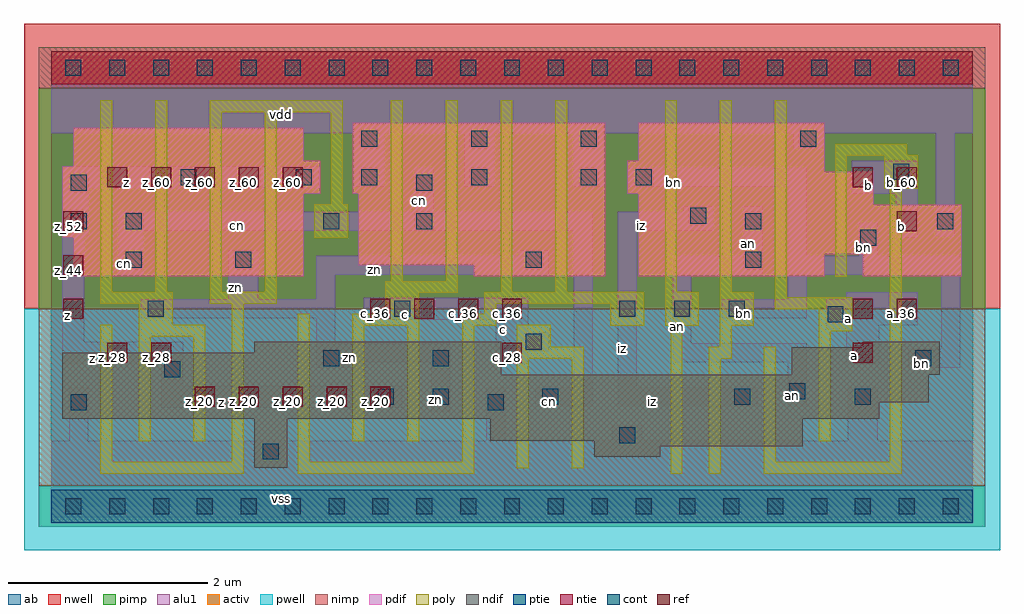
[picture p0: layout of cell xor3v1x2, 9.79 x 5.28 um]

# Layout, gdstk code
import gdstk
lib = gdstk.Library(unit=1e-6, precision=2.5e-09)
def R(c, l, rs):  # rectangles x0, y0, x1, y1
    for r in rs: c.add(gdstk.rectangle(r[:2], r[2:], *l))
def A(c, l, x, y, w, h, nx, ny, dx, dy):  # array of equal rectangles
    R(c, l, [(x+i*dx, y+j*dy, x+i*dx+w, y+j*dy+h) for i in range(nx) for j in range(ny)])
ndif = (3, 0)
pdif = (4, 0)
ntie = (5, 0)
ptie = (6, 0)
ref = (24, 0)
cont = (25, 0)
pwell = (41, 0)
nwell = (42, 0)
activ = (43, 0)
pimp = (44, 0)
nimp = (45, 0)
poly = (46, 0)
alu1 = (49, 0)
ab = (63, 0)

xor3v1x2 = lib.new_cell('xor3v1x2')
R(xor3v1x2, ndif, [(2.035,0.385,2.365,0.88), (5.445,0.495,6.105,0.605), (5.445,0.605,7.535,0.66), (4.4,0.66,7.535,0.88), (0.11,0.88,8.305,1.045), (0.11,1.045,8.8,1.32), (0.11,1.32,4.51,1.54), (7.425,1.32,8.91,1.595), (2.035,1.54,4.51,1.65), (8.14,1.595,8.91,1.65)])
R(xor3v1x2, pdif, [(0.22,2.31,2.53,2.695), (4.235,2.31,5.555,2.42), (5.885,2.31,7.755,2.53), (8.14,2.31,9.13,2.53), (3.08,2.42,5.555,3.135), (5.885,2.53,9.13,3.025), (0.11,2.695,2.53,3.135), (5.885,3.025,8.25,3.135), (0.11,3.135,2.695,3.41), (3.025,3.135,5.555,3.85), (5.775,3.135,8.25,3.355), (5.775,3.355,7.755,3.465), (0.22,3.41,2.695,3.465), (0.22,3.465,2.53,3.795), (5.885,3.465,7.755,3.85)])
R(xor3v1x2, ntie, [(0,4.235,9.24,4.565)])
R(xor3v1x2, ptie, [(0,-0.165,9.24,0.165)])
A(xor3v1x2, ref, 1.44, 1, 0.2, 0.2, 5, 1, 0.44, 0)
A(xor3v1x2, ref, 1, 1.44, 0.2, 0.2, 3, 1, 3.52, 0)
A(xor3v1x2, ref, 0.12, 1.88, 0.2, 0.2, 1, 3, 0, 0.44)
A(xor3v1x2, ref, 3.2, 1.88, 0.2, 0.2, 4, 1, 0.44, 0)
A(xor3v1x2, ref, 0.56, 3.2, 0.2, 0.2, 5, 1, 0.44, 0)
R(xor3v1x2, ref, [(0.56,1.44,0.76,1.64), (8.04,1.88,8.24,2.08), (8.48,1.88,8.68,2.08), (8.48,2.76,8.68,2.96), (8.04,3.2,8.24,3.4), (8.48,3.2,8.68,3.4)])
A(xor3v1x2, cont, 0.14, -0.08, 0.16, 0.16, 21, 2, 0.44, 4.4)
A(xor3v1x2, cont, 5.695, 1.9, 0.16, 0.16, 3, 1, 0.55, 0)
A(xor3v1x2, cont, 3.11, 3.22, 0.16, 0.16, 3, 2, 1.1, 0.385)
R(xor3v1x2, cont, [(2.12,0.47,2.28,0.63), (5.695,0.635,5.855,0.795), (0.195,0.965,0.355,1.125), (4.375,0.965,4.535,1.125), (3.275,1.02,3.435,1.18), (3.825,1.02,3.985,1.18), (4.925,1.02,5.085,1.18), (6.85,1.02,7.01,1.18), (8.06,1.02,8.22,1.18), (7.4,1.075,7.56,1.235), (1.13,1.295,1.29,1.455), (2.725,1.405,2.885,1.565), (3.825,1.405,3.985,1.565), (8.665,1.405,8.825,1.565), (4.76,1.57,4.92,1.73), (7.785,1.845,7.945,2.005), (0.965,1.9,1.125,2.06), (3.44,1.9,3.6,2.06), (0.745,2.395,0.905,2.555), (1.845,2.395,2.005,2.555), (4.76,2.395,4.92,2.555), (6.96,2.395,7.12,2.555), (8.115,2.615,8.275,2.775), (0.195,2.78,0.355,2.94), (0.745,2.78,0.905,2.94), (2.725,2.78,2.885,2.94), (3.66,2.78,3.82,2.94), (6.96,2.78,7.12,2.94), (8.885,2.78,9.045,2.94), (6.41,2.835,6.57,2.995), (0.195,3.165,0.355,3.325), (3.66,3.165,3.82,3.325), (1.295,3.22,1.455,3.38), (2.45,3.22,2.61,3.38), (5.86,3.22,6.02,3.38), (8.445,3.275,8.605,3.435), (7.51,3.605,7.67,3.765)])
R(xor3v1x2, pwell, [(-0.275,-0.44,9.515,1.98)])
R(xor3v1x2, nwell, [(-0.275,1.98,9.515,4.84)])
R(xor3v1x2, activ, [(0,-0.165,9.24,0.165), (2.035,0.385,2.365,0.88), (5.445,0.495,6.105,0.605), (5.445,0.605,7.535,0.66), (4.4,0.66,7.535,0.88), (0.11,0.88,8.305,1.045), (0.11,1.045,8.8,1.32), (0.11,1.32,4.51,1.54), (7.425,1.32,8.91,1.595), (2.035,1.54,4.51,1.65), (8.14,1.595,8.91,1.65), (0.22,2.31,2.53,2.695), (4.235,2.31,5.555,2.42), (5.885,2.31,7.755,2.53), (8.14,2.31,9.13,2.53), (3.08,2.42,5.555,3.135), (5.885,2.53,9.13,3.025), (0.11,2.695,2.53,3.135), (5.885,3.025,8.25,3.135), (0.11,3.135,2.695,3.41), (3.025,3.135,5.555,3.85), (5.775,3.135,8.25,3.355), (5.775,3.355,7.755,3.465), (0.22,3.41,2.695,3.465), (0.22,3.465,2.53,3.795), (5.885,3.465,7.755,3.85), (0,4.235,9.24,4.565)])
R(xor3v1x2, pimp, [(-0.125,-0.205,9.365,0.205), (-0.125,1.98,9.365,4.195)])
R(xor3v1x2, nimp, [(-0.125,0.205,9.365,1.98), (-0.125,4.195,9.365,4.605)])
R(xor3v1x2, poly, [(0.49,0.325,1.93,0.445), (2.47,0.325,4.24,0.445), (6.21,0.325,6.33,1.81), (6.595,0.325,6.715,1.48), (7.145,0.325,8.53,0.445), (4.67,0.38,4.79,1.48), (5.22,0.38,5.34,1.48), (0.49,0.445,0.61,1.82), (1.81,0.445,1.93,2.03), (2.47,0.445,2.59,1.93), (4.12,0.445,4.24,1.81), (7.145,0.445,7.265,1.6), (8.41,0.445,8.53,3.185), (0.875,0.655,0.995,1.7), (1.425,0.655,1.545,1.7), (3.02,0.655,3.14,1.81), (3.57,0.655,3.69,1.81), (7.695,0.655,7.815,1.755), (4.67,1.48,5.34,1.6), (6.595,1.48,6.825,1.6), (4.67,1.6,5.01,1.82), (6.705,1.6,6.825,1.81), (0.875,1.7,1.545,1.82), (7.695,1.755,8.035,1.975), (3.02,1.81,3.69,1.93), (4.12,1.81,4.46,1.93), (5.605,1.81,5.945,2.03), (6.155,1.81,6.495,2.15), (6.705,1.81,7.045,2.15), (0.875,1.82,1.215,2.03), (3.35,1.93,3.69,2.14), (4.34,1.93,4.46,2.03), (7.255,1.975,8.035,2.095), (0.49,2.03,1.215,2.15), (1.59,2.03,2.26,2.15), (4.34,2.03,5.945,2.15), (7.255,2.095,7.375,4.075), (3.35,2.14,4.075,2.26), (0.49,2.15,0.61,4.075), (1.04,2.15,1.16,4.075), (1.59,2.15,1.71,3.955), (2.14,2.15,2.26,3.955), (4.505,2.15,4.625,4.075), (5.055,2.15,5.175,4.075), (6.155,2.15,6.275,4.075), (6.705,2.15,6.825,4.075), (3.405,2.26,3.525,4.075), (3.955,2.26,4.075,4.075), (7.86,2.305,7.98,3.515), (2.635,2.69,2.975,3.03), (2.8,3.03,2.92,3.955), (8.355,3.185,8.695,3.515), (7.86,3.515,8.695,3.525), (7.86,3.525,8.585,3.635), (1.59,3.955,2.92,4.075)])
A(xor3v1x2, alu1, 3.04, 3.205, 0.3, 0.535, 3, 1, 1.1, 0)
R(xor3v1x2, alu1, [(0,-0.11,9.24,0.66), (0.18,0.66,0.37,1.195), (4.36,0.66,4.55,1.195), (5.625,0.66,5.925,0.81), (7.99,0.66,8.29,1.195), (3.81,0.95,4,1.445), (1.1,0.99,3.52,1.21), (4.855,1.005,5.43,1.195), (5.68,1.005,7.08,1.195), (7.385,1.005,7.575,1.445), (5.24,1.195,5.43,2.765), (5.68,1.195,5.87,2.765), (1.1,1.21,1.32,1.43), (2.655,1.39,2.955,1.445), (8.595,1.39,9.115,1.58), (0.11,1.43,1.32,1.65), (4.455,1.43,4.785,1.555), (7.975,1.43,8.305,1.775), (2.655,1.445,4,1.635), (6.23,1.445,7.575,1.635), (4.455,1.555,4.99,1.745), (8.925,1.58,9.115,2.325), (2.655,1.635,2.845,1.885), (6.23,1.635,6.42,2.325), (0.11,1.65,0.33,2.71), (4.455,1.745,4.785,1.87), (7.77,1.775,8.305,1.815), (7.77,1.815,8.69,2.075), (3.135,1.87,4.785,2.09), (0.895,1.885,2.845,2.075), (6.725,1.885,7.575,2.075), (1.775,2.075,2.075,2.57), (2.655,2.075,2.845,2.325), (7.385,2.075,7.575,2.325), (7.975,2.075,8.69,2.145), (0.675,2.325,0.92,2.765), (2.655,2.325,4.99,2.515), (6.23,2.325,7.135,2.515), (7.385,2.325,9.115,2.515), (4.69,2.515,4.99,2.57), (6.945,2.515,7.135,3.01), (7.385,2.515,7.575,3.205), (8.1,2.515,8.29,2.845), (8.47,2.695,8.69,3.135), (0.11,2.71,0.37,3.19), (8.87,2.71,9.06,3.74), (0.675,2.765,5.43,2.955), (5.68,2.765,6.64,2.955), (3.645,2.955,3.835,3.395), (6.34,2.955,6.64,3.01), (8.03,3.135,8.69,3.465), (0.11,3.19,2.695,3.41), (5.79,3.205,7.575,3.395), (7.44,3.59,7.74,3.74), (0,3.74,9.24,4.51)])
R(xor3v1x2, ab, [(0,0,9.24,4.4)])
xor3v1x2.add(gdstk.Label('vss', (2.31,0.0825), layer=49, texttype=0))
xor3v1x2.add(gdstk.Label('bn', (8.725,1.4375), layer=49, texttype=0))
xor3v1x2.add(gdstk.Label('a', (8.0575,1.515), layer=49, texttype=0))
xor3v1x2.add(gdstk.Label('an', (7.4325,1.115), layer=49, texttype=0))
xor3v1x2.add(gdstk.Label('iz', (6.03,1.0525), layer=49, texttype=0))
xor3v1x2.add(gdstk.Label('a', (8,1.88), layer=49, texttype=0))
xor3v1x2.add(gdstk.Label('bn', (6.9375,1.9325), layer=49, texttype=0))
xor3v1x2.add(gdstk.Label('an', (6.2775,1.8075), layer=49, texttype=0))
xor3v1x2.add(gdstk.Label('b', (8.525,2.805), layer=49, texttype=0))
xor3v1x2.add(gdstk.Label('bn', (8.1475,2.5975), layer=49, texttype=0))
xor3v1x2.add(gdstk.Label('b', (8.195,3.2175), layer=49, texttype=0))
xor3v1x2.add(gdstk.Label('an', (6.9925,2.6375), layer=49, texttype=0))
xor3v1x2.add(gdstk.Label('iz', (5.7275,1.5875), layer=49, texttype=0))
xor3v1x2.add(gdstk.Label('iz', (5.92,2.8125), layer=49, texttype=0))
xor3v1x2.add(gdstk.Label('cn', (4.9975,1.0525), layer=49, texttype=0))
xor3v1x2.add(gdstk.Label('zn', (3.8575,1.0725), layer=49, texttype=0))
xor3v1x2.add(gdstk.Label('z', (1.705,1.045), layer=49, texttype=0))
xor3v1x2.add(gdstk.Label('zn', (2.99,1.4925), layer=49, texttype=0))
xor3v1x2.add(gdstk.Label('c', (4.5375,1.775), layer=49, texttype=0))
xor3v1x2.add(gdstk.Label('c', (3.5475,1.925), layer=49, texttype=0))
xor3v1x2.add(gdstk.Label('z', (0.4125,1.485), layer=49, texttype=0))
xor3v1x2.add(gdstk.Label('zn', (3.2375,2.3725), layer=49, texttype=0))
xor3v1x2.add(gdstk.Label('zn', (1.85,2.1975), layer=49, texttype=0))
xor3v1x2.add(gdstk.Label('cn', (0.735,2.435), layer=49, texttype=0))
xor3v1x2.add(gdstk.Label('z', (0.165,1.915), layer=49, texttype=0))
xor3v1x2.add(gdstk.Label('cn', (1.8625,2.8125), layer=49, texttype=0))
xor3v1x2.add(gdstk.Label('bn', (6.235,3.2525), layer=49, texttype=0))
xor3v1x2.add(gdstk.Label('cn', (3.6925,3.065), layer=49, texttype=0))
xor3v1x2.add(gdstk.Label('z', (0.755,3.245), layer=49, texttype=0))
xor3v1x2.add(gdstk.Label('vdd', (2.31,3.9325), layer=49, texttype=0))
xor3v1x2.add(gdstk.Label('b_60', (8.09,3.25), layer=24, texttype=0))
xor3v1x2.add(gdstk.Label('b_52', (8.53,2.81), layer=24, texttype=0))
xor3v1x2.add(gdstk.Label('c_36', (4.57,1.93), layer=24, texttype=0))
xor3v1x2.add(gdstk.Label('c_28', (4.57,1.49), layer=24, texttype=0))
xor3v1x2.add(gdstk.Label('c_36', (4.13,1.93), layer=24, texttype=0))
xor3v1x2.add(gdstk.Label('c_36', (3.69,1.93), layer=24, texttype=0))
xor3v1x2.add(gdstk.Label('c_36', (3.25,1.93), layer=24, texttype=0))
xor3v1x2.add(gdstk.Label('z_20', (3.25,1.05), layer=24, texttype=0))
xor3v1x2.add(gdstk.Label('z_20', (2.81,1.05), layer=24, texttype=0))
xor3v1x2.add(gdstk.Label('z_60', (2.37,3.25), layer=24, texttype=0))
xor3v1x2.add(gdstk.Label('z_20', (2.37,1.05), layer=24, texttype=0))
xor3v1x2.add(gdstk.Label('z_52', (0.17,2.81), layer=24, texttype=0))
xor3v1x2.add(gdstk.Label('z_44', (0.17,2.37), layer=24, texttype=0))
xor3v1x2.add(gdstk.Label('z_36', (0.17,1.93), layer=24, texttype=0))
xor3v1x2.add(gdstk.Label('z_60', (1.93,3.25), layer=24, texttype=0))
xor3v1x2.add(gdstk.Label('z_20', (1.93,1.05), layer=24, texttype=0))
xor3v1x2.add(gdstk.Label('z_60', (1.49,3.25), layer=24, texttype=0))
xor3v1x2.add(gdstk.Label('z_20', (1.49,1.05), layer=24, texttype=0))
xor3v1x2.add(gdstk.Label('z_60', (1.05,3.25), layer=24, texttype=0))
xor3v1x2.add(gdstk.Label('z_28', (1.05,1.49), layer=24, texttype=0))
xor3v1x2.add(gdstk.Label('b_60', (8.53,3.25), layer=24, texttype=0))
xor3v1x2.add(gdstk.Label('a_36', (8.53,1.93), layer=24, texttype=0))
xor3v1x2.add(gdstk.Label('a_36', (8.09,1.93), layer=24, texttype=0))
xor3v1x2.add(gdstk.Label('a_28', (8.09,1.49), layer=24, texttype=0))
xor3v1x2.add(gdstk.Label('z_60', (0.61,3.25), layer=24, texttype=0))
xor3v1x2.add(gdstk.Label('z_28', (0.61,1.49), layer=24, texttype=0))

lib.write_gds('xor3v1x2.gds')
